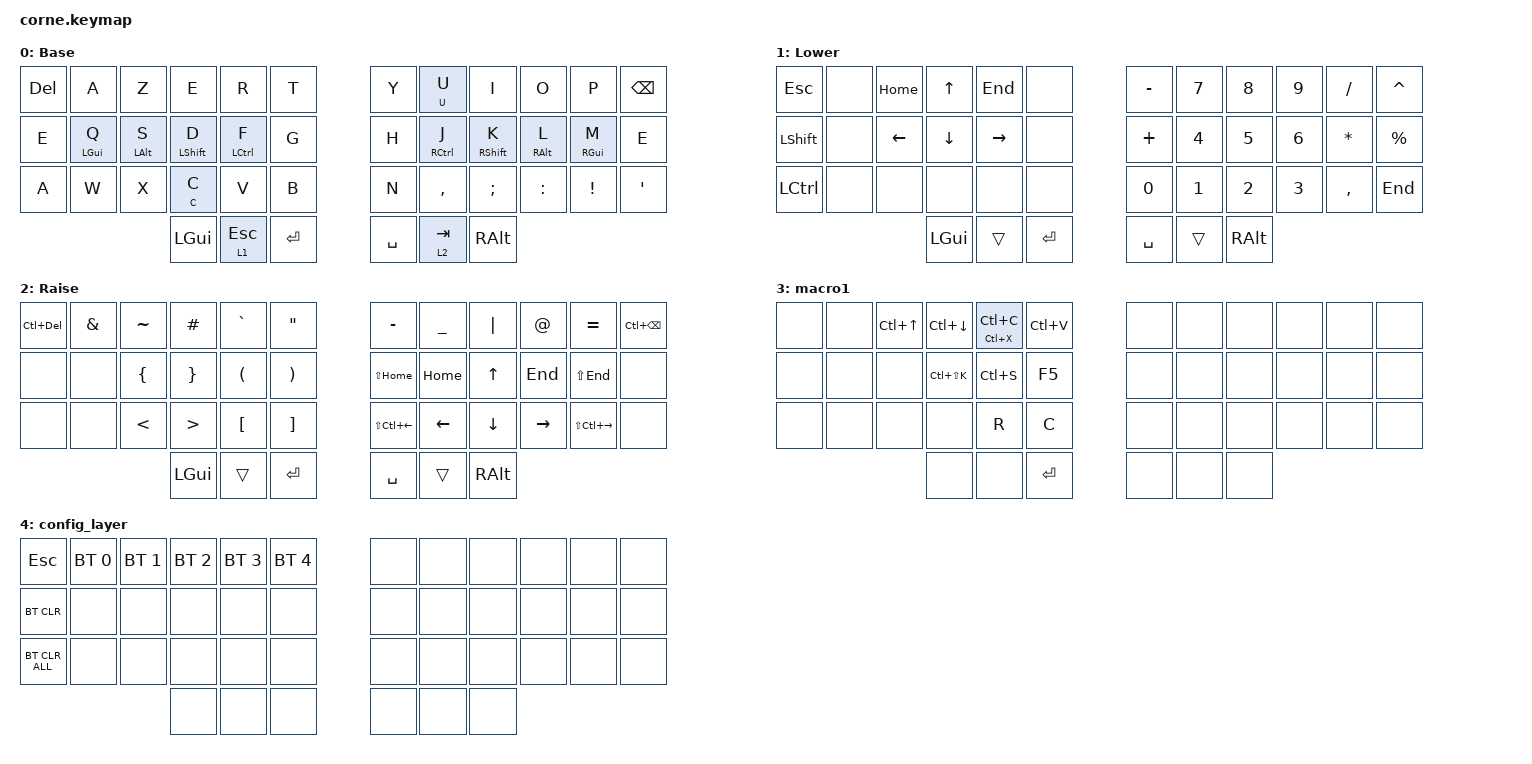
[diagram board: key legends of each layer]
/*
 * Copyright (c) 2020 The ZMK Contributors
 *
 * SPDX-License-Identifier: MIT
 */

#include <behaviors.dtsi>
#include <dt-bindings/zmk/bt.h>
#include <dt-bindings/zmk/keys.h>

/ {
    combos {
        compatible = "zmk,combos";

        config_layout {
            bindings = <&mo 4>;
            key-positions = <37 40>;
        };
    };

    keymap {
        compatible = "zmk,keymap";

        default_layer {
            // -----------------------------------------------------------------------------------------
            // |  TAB |  Q  |  W  |  E  |  R  |  T  |   |  Y  |  U   |  I  |  O  |  P  | BKSP |
            // | CTRL |  A  |  S  |  D  |  F  |  G  |   |  H  |  J   |  K  |  L  |  ;  |  '   |
            // | SHFT |  Z  |  X  |  C  |  V  |  B  |   |  N  |  M   |  ,  |  .  |  /  | ESC  |
            //                    | GUI | LWR | SPC |   | ENT | RSE  | ALT |

            display-name = "Base";
            bindings = <
&kp DEL  &kp A       &kp Z           &kp E         &kp R         &kp T        &kp Y      &mt U U      &kp I          &kp O            &kp P            &kp BACKSPACE
&kp E    &mt LGUI Q  &mt LEFT_ALT S  &mt LSHIFT D  &mt LCTRL F   &kp G        &kp H      &mt RCTRL J  &mt RSHFT K    &mt RIGHT_ALT L  &mt RGUI M       &kp E
&kp A    &kp W       &kp X           &mt C C       &kp V         &kp B        &kp N      &kp COMMA    &kp SEMICOLON  &kp COLON        &kp EXCLAMATION  &kp APOS
                                     &kp LGUI      &lt 1 ESCAPE  &kp ENTER    &kp SPACE  &lt 2 TAB    &kp RALT
            >;
        };

        lower_layer {
            // -----------------------------------------------------------------------------------------
            // |  TAB |  1  |  2  |  3  |  4  |  5  |   |  6  |  7  |  8  |  9  |  0  | BKSP |
            // | BTCLR| BT1 | BT2 | BT3 | BT4 | BT5 |   | LFT | DWN |  UP | RGT |     |      |
            // | SHFT |     |     |     |     |     |   |     |     |     |     |     |      |
            //                    | GUI |     | SPC |   | ENT |     | ALT |

            display-name = "Lower";
            bindings = <
&kp ESCAPE        &none  &kp HOME  &kp UP_ARROW  &kp END    &none        &kp MINUS  &kp N7  &kp N8    &kp N9  &kp SLASH     &kp CARET
&kp LEFT_SHIFT    &none  &kp LEFT  &kp DOWN      &kp RIGHT  &none        &kp PLUS   &kp N4  &kp N5    &kp N6  &kp ASTERISK  &kp PERCENT
&kp LEFT_CONTROL  &none  &none     &none         &none      &none        &kp N0     &kp N1  &kp N2    &kp N3  &kp COMMA     &kp END
                                   &kp LGUI      &trans     &kp ENTER    &kp SPACE  &trans  &kp RALT
            >;
        };

        raise_layer {
            // -----------------------------------------------------------------------------------------
            // |  TAB |  !  |  @  |  #  |  $  |  %  |   |  ^  |  &  |  *  |  (  |  )  | BKSP |
            // | CTRL |     |     |     |     |     |   |  -  |  =  |  [  |  ]  |  \  |  `   |
            // | SHFT |     |     |     |     |     |   |  _  |  +  |  {  |  }  | "|" |  ~   |
            //                    | GUI |     | SPC |   | ENT |     | ALT |

            display-name = "Raise";
            bindings = <
&kp LC(DEL)  &kp AMPERSAND  &kp TILDE       &kp HASH          &kp GRAVE             &kp DOUBLE_QUOTES        &kp MINUS         &kp UNDERSCORE  &kp PIPE      &kp AT_SIGN  &kp EQUAL          &kp LC(BACKSPACE)
&none        &none          &kp LEFT_BRACE  &kp RIGHT_BRACE   &kp LEFT_PARENTHESIS  &kp RIGHT_PARENTHESIS    &kp LS(HOME)      &kp HOME        &kp UP_ARROW  &kp END      &kp LS(END)        &none
&none        &none          &kp LESS_THAN   &kp GREATER_THAN  &kp LEFT_BRACKET      &kp RIGHT_BRACKET        &kp LS(LC(LEFT))  &kp LEFT        &kp DOWN      &kp RIGHT    &kp LS(LC(RIGHT))  &none
                                            &kp LGUI          &trans                &kp ENTER                &kp SPACE         &trans          &kp RALT
            >;
        };

        macro1 {
            bindings = <
&none  &none  &kp LC(UP_ARROW)  &kp LC(DOWN)   &mt LC(X) LC(C)  &kp LC(V)    &none  &none  &none  &none  &none  &none
&none  &none  &none             &kp LC(LS(K))  &kp LC(S)        &kp F5       &none  &none  &none  &none  &none  &none
&none  &none  &none             &none          &kp R            &kp C        &none  &none  &none  &none  &none  &none
                                &none          &none            &kp ENTER    &none  &none  &none
            >;
        };

        config_layer {
            bindings = <
&kp ESCAPE      &bt BT_SEL 0  &bt BT_SEL 1  &bt BT_SEL 2  &bt BT_SEL 3  &bt BT_SEL 4    &none  &none  &none  &none  &none  &none
&bt BT_CLR      &none         &none         &none         &none         &none           &none  &none  &none  &none  &none  &none
&bt BT_CLR_ALL  &none         &none         &none         &none         &none           &none  &none  &none  &none  &none  &none
                                            &none         &none         &none           &none  &none  &none
            >;
        };
    };
};
